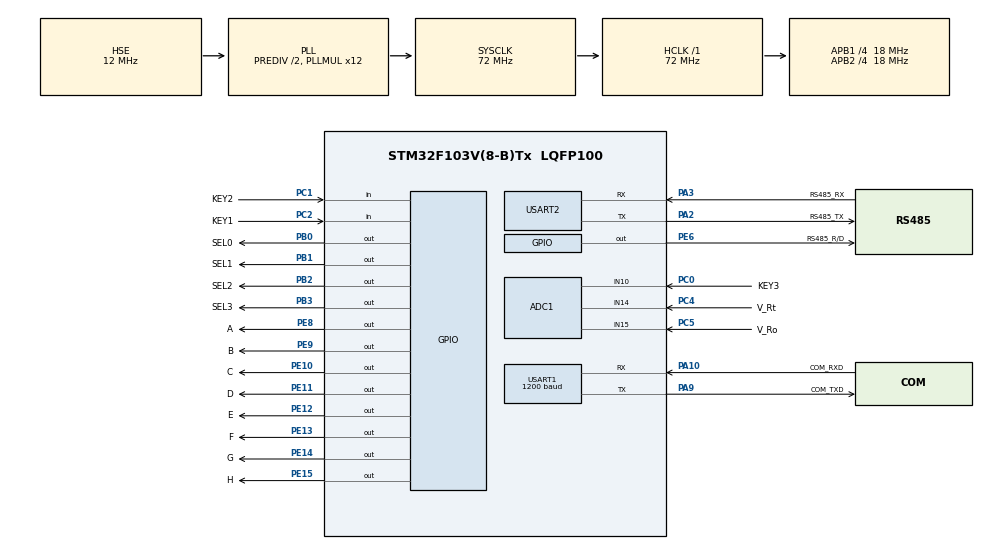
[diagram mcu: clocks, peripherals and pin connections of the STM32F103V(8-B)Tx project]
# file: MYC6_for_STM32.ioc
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ADC1.Channel-0\#ChannelRegularConversion=ADC_CHANNEL_10
ADC1.Channel-1\#ChannelRegularConversion=ADC_CHANNEL_14
ADC1.Channel-2\#ChannelRegularConversion=ADC_CHANNEL_15
ADC1.ContinuousConvMode=DISABLE
ADC1.DiscontinuousConvMode=DISABLE
ADC1.InjNumberOfConversion=0
ADC1.NbrOfConversion=3
ADC1.NbrOfConversionFlag=1
ADC1.Rank-0\#ChannelRegularConversion=1
ADC1.Rank-1\#ChannelRegularConversion=2
ADC1.Rank-2\#ChannelRegularConversion=3
ADC1.SamplingTime-0\#ChannelRegularConversion=ADC_SAMPLETIME_7CYCLES_5
ADC1.SamplingTime-1\#ChannelRegularConversion=ADC_SAMPLETIME_7CYCLES_5
ADC1.SamplingTime-2\#ChannelRegularConversion=ADC_SAMPLETIME_7CYCLES_5
ADC1.master=1
Dma.ADC1.1.Direction=DMA_PERIPH_TO_MEMORY
Dma.ADC1.1.Instance=DMA1_Channel1
Dma.ADC1.1.MemDataAlignment=DMA_MDATAALIGN_HALFWORD
Dma.ADC1.1.MemInc=DMA_MINC_ENABLE
Dma.ADC1.1.Mode=DMA_CIRCULAR
Dma.ADC1.1.PeriphDataAlignment=DMA_PDATAALIGN_HALFWORD
Dma.ADC1.1.PeriphInc=DMA_PINC_DISABLE
Dma.ADC1.1.Priority=DMA_PRIORITY_LOW
Dma.Request0=USART1_TX
Dma.Request1=ADC1
Dma.Request2=USART1_RX
Dma.USART1_RX.2.Direction=DMA_PERIPH_TO_MEMORY
Dma.USART1_RX.2.Instance=DMA1_Channel5
Dma.USART1_RX.2.MemDataAlignment=DMA_MDATAALIGN_BYTE
Dma.USART1_RX.2.MemInc=DMA_MINC_ENABLE
Dma.USART1_RX.2.Mode=DMA_NORMAL
Dma.USART1_RX.2.PeriphDataAlignment=DMA_PDATAALIGN_BYTE
Dma.USART1_RX.2.PeriphInc=DMA_PINC_DISABLE
Dma.USART1_RX.2.Priority=DMA_PRIORITY_LOW
Dma.USART1_TX.0.Direction=DMA_MEMORY_TO_PERIPH
Dma.USART1_TX.0.Instance=DMA1_Channel4
Dma.USART1_TX.0.MemDataAlignment=DMA_MDATAALIGN_BYTE
Dma.USART1_TX.0.MemInc=DMA_MINC_ENABLE
Dma.USART1_TX.0.Mode=DMA_NORMAL
Dma.USART1_TX.0.PeriphDataAlignment=DMA_PDATAALIGN_BYTE
Dma.USART1_TX.0.PeriphInc=DMA_PINC_DISABLE
Dma.USART1_TX.0.Priority=DMA_PRIORITY_LOW
Mcu.Family=STM32F1
Mcu.Name=STM32F103V(8-B)Tx
Mcu.Package=LQFP100
NVIC.DMA1_Channel1_IRQn=true\:0\:0\:false\:false\:true\:false\:true
NVIC.DMA1_Channel4_IRQn=true\:0\:0\:false\:false\:true\:false\:true
NVIC.DMA1_Channel5_IRQn=true\:0\:0\:false\:false\:true\:false\:true
NVIC.PriorityGroup=NVIC_PRIORITYGROUP_4
NVIC.USART1_IRQn=true\:0\:0\:false\:false\:true\:true\:true
NVIC.USART2_IRQn=true\:0\:0\:false\:false\:true\:true\:true
OSC_IN.Mode=HSE-External-Oscillator
OSC_IN.Signal=RCC_OSC_IN
OSC_OUT.Mode=HSE-External-Oscillator
OSC_OUT.Signal=RCC_OSC_OUT
PA10.GPIO_Label=COM_RXD
PA10.Mode=Asynchronous
PA10.Signal=USART1_RX
PA13.Mode=Serial_Wire
PA13.Signal=SYS_JTMS-SWDIO
PA14.Mode=Serial_Wire
PA14.Signal=SYS_JTCK-SWCLK
PA2.GPIO_Label=RS485_TX
PA2.Mode=Asynchronous
PA2.Signal=USART2_TX
PA3.GPIO_Label=RS485_RX
PA3.Mode=Asynchronous
PA3.Signal=USART2_RX
PA9.GPIO_Label=COM_TXD
PA9.GPIO_Speed=GPIO_SPEED_FREQ_MEDIUM
PA9.Mode=Asynchronous
PA9.Signal=USART1_TX
PB0.GPIO_Label=SEL0
PB0.Signal=GPIO_Output
PB1.GPIO_Label=SEL1
PB1.Signal=GPIO_Output
PB2.GPIO_Label=SEL2
PB2.Signal=GPIO_Output
PB3.GPIO_Label=SEL3
PB3.Signal=GPIO_Output
PC0.GPIO_Label=KEY3
PC0.Signal=ADCx_IN10
PC1.GPIO_Label=KEY2
PC1.Signal=GPIO_Input
PC14-OSC32_IN.Signal=RCC_OSC32_IN
PC15-OSC32_OUT.Signal=RCC_OSC32_OUT
PC2.GPIO_Label=KEY1
PC2.Signal=GPIO_Input
PC4.GPIO_Label=V_Rt
PC4.Signal=ADCx_IN14
PC5.GPIO_Label=V_Ro
PC5.Signal=ADCx_IN15
PE10.GPIO_Label=C
PE10.Signal=GPIO_Output
PE11.GPIO_Label=D
PE11.Signal=GPIO_Output
PE12.GPIO_Label=E
PE12.Signal=GPIO_Output
PE13.GPIO_Label=F
PE13.Signal=GPIO_Output
PE14.GPIO_Label=G
PE14.Signal=GPIO_Output
PE15.GPIO_Label=H
PE15.Signal=GPIO_Output
PE6.GPIO_Label=RS485_R/D
PE6.GPIO_Speed=GPIO_SPEED_FREQ_HIGH
PE6.Signal=GPIO_Output
PE8.GPIO_Label=A
PE8.Signal=GPIO_Output
PE9.GPIO_Label=B
PE9.Signal=GPIO_Output
ProjectManager.HeapSize=0x200
ProjectManager.StackSize=0x400
ProjectManager.TargetToolchain=MDK-ARM V5
RCC.ADCPresc=RCC_ADCPCLK2_DIV4
RCC.AHBFreq_Value=72000000
RCC.APB1CLKDivider=RCC_HCLK_DIV4
RCC.APB1Freq_Value=18000000
RCC.APB1TimFreq_Value=36000000
RCC.APB2CLKDivider=RCC_HCLK_DIV4
RCC.APB2Freq_Value=18000000
RCC.APB2TimFreq_Value=36000000
RCC.HCLKFreq_Value=72000000
RCC.HSEDivPLL=RCC_HSE_PREDIV_DIV2
RCC.HSE_VALUE=12000000
RCC.PLLMUL=RCC_PLL_MUL12
RCC.PLLSourceVirtual=RCC_PLLSOURCE_HSE
RCC.SYSCLKFreq_VALUE=72000000
RCC.SYSCLKSource=RCC_SYSCLKSOURCE_PLLCLK
RCC.USBFreq_Value=72000000
SH.ADCx_IN10.0=ADC1_IN10,IN10
SH.ADCx_IN14.0=ADC1_IN14,IN14
SH.ADCx_IN15.0=ADC1_IN15,IN15
USART1.BaudRate=1200
USART1.VirtualMode=VM_ASYNC
USART2.VirtualMode=VM_ASYNC
board=custom

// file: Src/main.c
/**
  ******************************************************************************
  * @file           : main.c
  * @brief          : Main program body
  ******************************************************************************
  ** This notice applies to any and all portions of this file
  * that are not between comment pairs USER CODE BEGIN and
  * USER CODE END. Other portions of this file, whether
  * inserted by the user or by software development tools
  * are owned by their respective copyright owners.
  *
  * COPYRIGHT(c) 2023 STMicroelectronics
  *
  * Redistribution and use in source and binary forms, with or without modification,
  * are permitted provided that the following conditions are met:
  *   1. Redistributions of source code must retain the above copyright notice,
  *      this list of conditions and the following disclaimer.
  *   2. Redistributions in binary form must reproduce the above copyright notice,
  *      this list of conditions and the following disclaimer in the documentation
  *      and/or other materials provided with the distribution.
  *   3. Neither the name of STMicroelectronics nor the names of its contributors
  *      may be used to endorse or promote products derived from this software
  *      without specific prior written permission.
  *
  * THIS SOFTWARE IS PROVIDED BY THE COPYRIGHT HOLDERS AND CONTRIBUTORS "AS IS"
  * AND ANY EXPRESS OR IMPLIED WARRANTIES, INCLUDING, BUT NOT LIMITED TO, THE
  * IMPLIED WARRANTIES OF MERCHANTABILITY AND FITNESS FOR A PARTICULAR PURPOSE ARE
  * DISCLAIMED. IN NO EVENT SHALL THE COPYRIGHT HOLDER OR CONTRIBUTORS BE LIABLE
  * FOR ANY DIRECT, INDIRECT, INCIDENTAL, SPECIAL, EXEMPLARY, OR CONSEQUENTIAL
  * DAMAGES (INCLUDING, BUT NOT LIMITED TO, PROCUREMENT OF SUBSTITUTE GOODS OR
  * SERVICES; LOSS OF USE, DATA, OR PROFITS; OR BUSINESS INTERRUPTION) HOWEVER
  * CAUSED AND ON ANY THEORY OF LIABILITY, WHETHER IN CONTRACT, STRICT LIABILITY,
  * OR TORT (INCLUDING NEGLIGENCE OR OTHERWISE) ARISING IN ANY WAY OUT OF THE USE
  * OF THIS SOFTWARE, EVEN IF ADVISED OF THE POSSIBILITY OF SUCH DAMAGE.
  *
  ******************************************************************************
  */
#include "main.h"
#include "stm32f1xx_hal.h"
#include "adc.h"
#include "dma.h"
#include "usart.h"
#include "gpio.h"

/* USER CODE BEGIN PV */
/* Private variables ---------------------------------------------------------*/
struct
{ unsigned char head;
	unsigned char function;
	short AD_Res[3];
} TXD_M1={0xaa,0x55,1,2,3};

unsigned char display[8]={1,2,3,4,5,6,7,8};
char Q=0;
char Flag_100uS;    //100uS
char Flag_1mS;      //1mS
char Flag_20mS;     //10mS
char Flag_500mS;     //10mS
char Flag_1S;       //1S
char Flag_1Min;     //1Min
char Flag_1Hour;    //1Hour
unsigned char count_100uS;    //100uS
unsigned char count_1mS;      //1mS
unsigned char count_20mS;     //20mS
unsigned char count_500mS;     //20mS
unsigned char count_1S;       //1S
unsigned char count_1Min;     //1Min
char kkk;
uint8_t  message[2];
uint8_t ans;
uint8_t tmp;
uint8_t wei;
/* USER CODE END PV */

void SystemClock_Config(void);

/* USER CODE BEGIN PFP */
/* Private function prototypes -----------------------------------------------*/
void HAL_SYSTICK_Callback(void);
void Func_100uS(void);
void Func_1mS(void);
void Func_500mS(void);
void Func_20mS(void);
void Func_1S(void);
void Func_1Min(void);
void Func_1Hour(void);
void HAL_UART_RxCpltCallback(UART_HandleTypeDef *huart)
{
	ans=message[0]+message[1];
	HAL_UART_Transmit_DMA(&huart1,&ans,1);
	HAL_UART_Receive_DMA(&huart1,message,2);
}
/* USER CODE END PFP */

/* USER CODE BEGIN 0 */
int Counter;
unsigned int Tick;
unsigned int Pins [8] = {GPIO_PIN_15,GPIO_PIN_14,GPIO_PIN_13,GPIO_PIN_12,GPIO_PIN_11,GPIO_PIN_10,GPIO_PIN_9,GPIO_PIN_8};
/* USER CODE END 0 */

int main(void)
{

  /* MCU Configuration----------------------------------------------------------*/

  /* Reset of all peripherals, Initializes the Flash interface and the Systick. */
  HAL_Init();

  /* Configure the system clock */
  SystemClock_Config();

  /* USER CODE BEGIN SysInit */
	HAL_SYSTICK_Config(HAL_RCC_GetHCLKFreq()/10000);
  /* USER CODE END SysInit */

  /* Initialize all configured peripherals */
  MX_GPIO_Init();
  MX_DMA_Init();
  MX_USART1_UART_Init();
  MX_ADC1_Init();
  MX_USART2_UART_Init();
  /* USER CODE BEGIN 2 */
	HAL_ADC_Start_DMA(&hadc1, (uint32_t *)&TXD_M1.AD_Res, 3);
	HAL_UART_Receive_DMA(&huart1,message,2);

	//led
	//HAL_GPIO_WritePin(GPIOB,GPIO_PIN_3,1UL);

  /* USER CODE END 2 */

  /* Infinite loop */
  while (1)
  {

  /* USER CODE BEGIN 3 */
	if (Flag_100uS!=0) { Flag_100uS = 0;  Func_100uS();}
			if (Flag_1mS!=0)   { Flag_1mS = 0;    Func_1mS();}
			if (Flag_20mS!=0)  { Flag_20mS = 0;   Func_20mS(); }
			if (Flag_500mS!=0)  { Flag_500mS = 0;   Func_500mS(); }
			if (Flag_1S!=0)    { Flag_1S = 0;     Func_1S();}
			if (Flag_1Min!=0)  { Flag_1Min = 0;   Func_1Min();}
			if (Flag_1Hour!=0) { Flag_1Hour = 0;  Func_1Hour();}
  }
  /* USER CODE END 3 */

}

void SystemClock_Config(void)
{

  RCC_OscInitTypeDef RCC_OscInitStruct;
  RCC_ClkInitTypeDef RCC_ClkInitStruct;
  RCC_PeriphCLKInitTypeDef PeriphClkInit;

    /**Initializes the CPU, AHB and APB busses clocks
    */
  RCC_OscInitStruct.OscillatorType = RCC_OSCILLATORTYPE_HSE;
  RCC_OscInitStruct.HSEState = RCC_HSE_ON;
  RCC_OscInitStruct.HSEPredivValue = RCC_HSE_PREDIV_DIV2;
  RCC_OscInitStruct.HSIState = RCC_HSI_ON;
  RCC_OscInitStruct.PLL.PLLState = RCC_PLL_ON;
  RCC_OscInitStruct.PLL.PLLSource = RCC_PLLSOURCE_HSE;
  RCC_OscInitStruct.PLL.PLLMUL = RCC_PLL_MUL12;
  if (HAL_RCC_OscConfig(&RCC_OscInitStruct) != HAL_OK)
  {
    _Error_Handler(__FILE__, __LINE__);
  }

    /**Initializes the CPU, AHB and APB busses clocks
    */
  RCC_ClkInitStruct.ClockType = RCC_CLOCKTYPE_HCLK|RCC_CLOCKTYPE_SYSCLK
                              |RCC_CLOCKTYPE_PCLK1|RCC_CLOCKTYPE_PCLK2;
  RCC_ClkInitStruct.SYSCLKSource = RCC_SYSCLKSOURCE_PLLCLK;
  RCC_ClkInitStruct.AHBCLKDivider = RCC_SYSCLK_DIV1;
  RCC_ClkInitStruct.APB1CLKDivider = RCC_HCLK_DIV4;
  RCC_ClkInitStruct.APB2CLKDivider = RCC_HCLK_DIV4;

  if (HAL_RCC_ClockConfig(&RCC_ClkInitStruct, FLASH_LATENCY_2) != HAL_OK)
  {
    _Error_Handler(__FILE__, __LINE__);
  }

  PeriphClkInit.PeriphClockSelection = RCC_PERIPHCLK_ADC;
  PeriphClkInit.AdcClockSelection = RCC_ADCPCLK2_DIV4;
  if (HAL_RCCEx_PeriphCLKConfig(&PeriphClkInit) != HAL_OK)
  {
    _Error_Handler(__FILE__, __LINE__);
  }

    /**Configure the Systick interrupt time
    */
  HAL_SYSTICK_Config(HAL_RCC_GetHCLKFreq()/1000);

    /**Configure the Systick
    */
  HAL_SYSTICK_CLKSourceConfig(SYSTICK_CLKSOURCE_HCLK);

  /* SysTick_IRQn interrupt configuration */
  HAL_NVIC_SetPriority(SysTick_IRQn, 0, 0);
}

/* USER CODE BEGIN 4 */
void HAL_SYSTICK_Callback(void)
{ Flag_100uS=1;
	if (++count_100uS>=10)
	 { count_100uS=0;  Flag_1mS=1;
		 if (++count_1mS>=20)
			 { count_1mS=0;		 Flag_20mS=1;
				 if (++count_20mS>=25)
					 { count_20mS=0;			 Flag_500mS=1;
							if( ++count_500mS>=2)
							{
								count_500mS=0;			 Flag_1S=1;
							 if(++count_1S>=60)
								{ count_1S=0;						Flag_1Min=1;
									if(++count_1Min>=60)
										{ count_1Min=0;							Flag_1Hour=1;
										}
								}
							}
					 }
			 }
	 }
}

void Func_100uS(void)
{
}

void LedValue(char value)
{
	GPIOE->ODR &= ~(0xff<<8);
	GPIOE->ODR |= value<<8;
}

void sel(char value)
{
	GPIOB->ODR &= ~(0x07);
	GPIOB->ODR |= (value & 0x07);
}

void SetLed(char w, char value)
{char segTable[] = {
0x3f,0x06,0x5b,0x4f,0x66,0x6d,0x7d,0x07,0x7f,0x6f,
0x77,0x7c,0x39,0x5e,0x79,0x71,0x3d,0x76,0x0f,0x0e,
0x75,0x38,0x37,0x54,0x5c,0x73,0x67,0x31,0x49,0x78,
0x3e,0x1c,0x7e,0x64,0x6e,0x59,0x00
};
  sel(w);
	LedValue(segTable[value]);
}

void Func_1mS(void)
{
	static char i;
	display[7]=Q%16;

	//if (++i>7) i=0;
}

void Func_20mS(void)
{

	SetLed(7, display[7]);
	HAL_ADC_Start ( &hadc1 );
	/*
	  if(Q%16==1){
			unsigned int Time = HAL_GetTick();
		if(Time % 500UL == 0UL && Tick != Time){
			Tick =  Time;
			HAL_GPIO_WritePin(GPIOE,0xFF00,0UL);
			HAL_GPIO_WritePin(GPIOE,Pins[Counter],1UL);
			if(Counter < 8UL){
				Counter++;
			}else{
				Counter = 0;
			}
		}
	}*/
	/*
		if(Q%16==2)
		{

		}
	*/

}
void Func_500mS(void)
{

	if(TXD_M1.AD_Res[0]/100==11)//shang
	{
			Q--;
	}
	if(TXD_M1.AD_Res[0]/100==28)//xia
	{
			Q++;
	}
	if(TXD_M1.AD_Res[0]/100==5)//zuo

	if(TXD_M1.AD_Res[0]/100==22||TXD_M1.AD_Res[0]/100==23)//you

	 if(TXD_M1.AD_Res[0]/100==17){

	}

}
void Func_1S(void)
{
	RS485DIR_TX;
	HAL_UART_Transmit(&huart2,(uint8_t*)&Q,sizeof(Q),1000);
	//RS485DIR_RX;
	//HAL_UART_Receive(&huart2,(uint8_t*)&Q,sizeof(Q),10000);
}

void Func_1Min(void)
{

}

void Func_1Hour(void)
{
}
/* USER CODE END 4 */

void _Error_Handler(char *file, int line)
{
  while(1)
  {
  }
}

/************************ (C) COPYRIGHT STMicroelectronics *****END OF FILE****/
